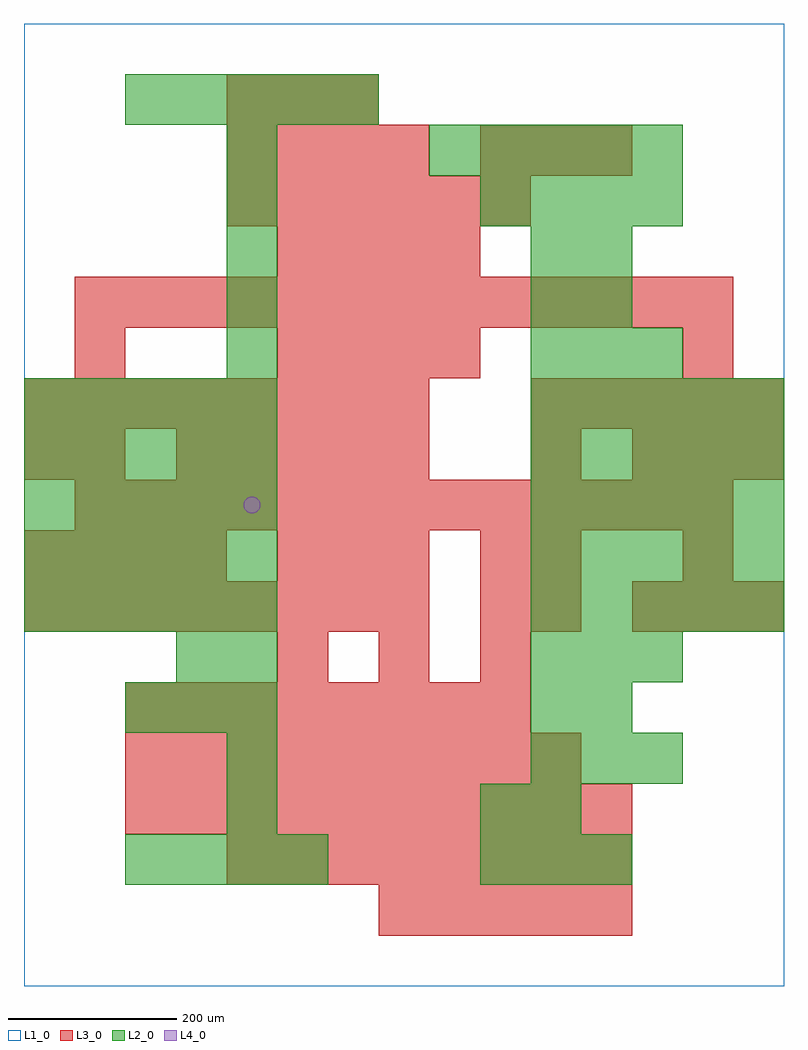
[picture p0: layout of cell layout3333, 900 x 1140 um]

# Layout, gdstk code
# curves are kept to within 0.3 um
import gdstk
lib = gdstk.Library(unit=1e-6, precision=1e-09)
def R(c, l, rs):  # rectangles x0, y0, x1, y1
    for r in rs: c.add(gdstk.rectangle(r[:2], r[2:], *l))
def A(c, l, x, y, w, h, nx, ny, dx, dy):  # array of equal rectangles
    R(c, l, [(x+i*dx, y+j*dy, x+i*dx+w, y+j*dy+h) for i in range(nx) for j in range(ny)])
def P(c, l, *ps):  # polygons
    for p in ps: c.add(gdstk.Polygon(p, *l))
L1_0 = (1, 0)
L2_0 = (2, 0)
L3_0 = (3, 0)
L4_0 = (4, 0)

layout3333 = lib.new_cell('layout3333')
R(layout3333, L1_0, [(0,0,900,1140)])
A(layout3333, L2_0, 120, 120, 60, 60, 4, 1, 60, 0)
A(layout3333, L2_0, 540, 120, 60, 60, 3, 1, 60, 0)
A(layout3333, L2_0, 600, 240, 60, 60, 3, 2, 60, 120)
A(layout3333, L2_0, 120, 300, 60, 60, 3, 1, 60, 0)
A(layout3333, L2_0, 0, 420, 60, 60, 5, 5, 60, 60)
A(layout3333, L2_0, 600, 420, 60, 60, 5, 5, 60, 60)
A(layout3333, L2_0, 240, 720, 60, 60, 1, 5, 0, 60)
A(layout3333, L2_0, 600, 720, 60, 60, 3, 1, 60, 0)
A(layout3333, L2_0, 540, 900, 60, 60, 4, 1, 60, 0)
A(layout3333, L2_0, 480, 960, 60, 60, 5, 1, 60, 0)
A(layout3333, L2_0, 120, 1020, 60, 60, 5, 1, 60, 0)
R(layout3333, L2_0, [(240,180,300,240), (540,180,600,240), (600,180,660,240), (240,240,300,300), (600,300,660,360), (660,300,720,360), (180,360,240,420), (240,360,300,420), (600,780,660,840), (660,780,720,840), (600,840,660,900), (660,840,720,900)])
A(layout3333, L3_0, 420, 60, 60, 60, 5, 1, 60, 0)
A(layout3333, L3_0, 240, 120, 60, 60, 8, 1, 60, 0)
A(layout3333, L3_0, 120, 180, 60, 60, 10, 1, 60, 0)
A(layout3333, L3_0, 120, 240, 60, 60, 9, 1, 60, 0)
A(layout3333, L3_0, 120, 300, 60, 60, 8, 1, 60, 0)
A(layout3333, L3_0, 300, 360, 60, 60, 3, 1, 120, 0)
A(layout3333, L3_0, 0, 420, 60, 60, 8, 2, 60, 240)
A(layout3333, L3_0, 720, 420, 60, 60, 3, 2, 60, 180)
A(layout3333, L3_0, 0, 480, 60, 60, 4, 1, 60, 0)
A(layout3333, L3_0, 300, 480, 60, 60, 3, 1, 60, 0)
A(layout3333, L3_0, 60, 540, 60, 60, 13, 2, 60, 240)
A(layout3333, L3_0, 180, 600, 60, 60, 5, 1, 60, 0)
A(layout3333, L3_0, 600, 660, 60, 60, 5, 1, 60, 0)
A(layout3333, L3_0, 300, 720, 60, 60, 4, 2, 60, 120)
A(layout3333, L3_0, 240, 900, 60, 60, 6, 1, 60, 0)
A(layout3333, L3_0, 240, 960, 60, 60, 4, 1, 60, 0)
A(layout3333, L3_0, 540, 960, 60, 60, 3, 1, 60, 0)
A(layout3333, L3_0, 240, 1020, 60, 60, 3, 1, 60, 0)
R(layout3333, L3_0, [(540,420,600,480), (600,420,660,480), (540,480,600,540), (600,480,660,540), (780,480,840,540), (0,600,60,660), (60,600,120,660), (600,600,660,660), (60,720,120,780), (780,720,840,780)])
P(layout3333, L4_0, [(280,570),(279.239,573.827),(277.071,577.071),(273.827,579.239),(270,580),(266.173,579.239),(262.929,577.071),(260.761,573.827),(260,570),(260.761,566.173),(262.929,562.929),(266.173,560.761),(270,560),(273.827,560.761),(277.071,562.929),(279.239,566.173)])

lib.write_gds('layout3333.gds')
